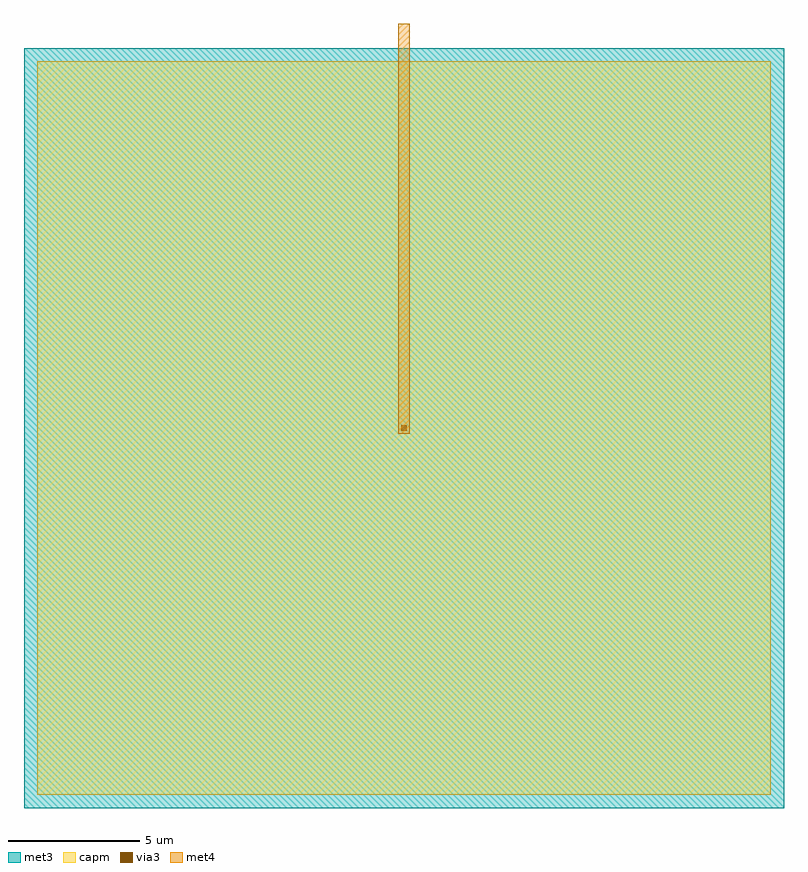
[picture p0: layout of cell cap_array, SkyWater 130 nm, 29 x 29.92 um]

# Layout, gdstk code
import gdstk
lib = gdstk.Library(unit=1e-6, precision=1e-09)
def R(c, l, rs):  # rectangles x0, y0, x1, y1
    for r in rs: c.add(gdstk.rectangle(r[:2], r[2:], *l))
met3 = (70, 20)
via3 = (70, 44)
met4 = (71, 20)
capm = (89, 44)

cap_array = lib.new_cell('cap_array')
R(cap_array, met3, [(0,0,29,29)])
R(cap_array, via3, [(14.4,14.4,14.6,14.6)])
R(cap_array, met4, [(14.29,14.29,14.71,14.71), (14.29,14.71,14.71,29.5), (14.29,29.5,14.71,29.92)])
R(cap_array, capm, [(0.5,0.5,28.5,28.5)])

lib.write_gds('cap_array.gds')
